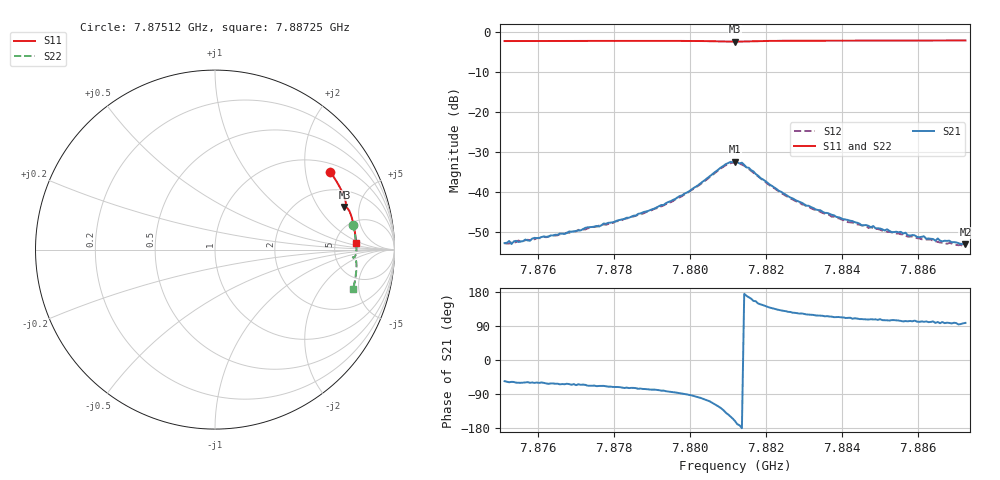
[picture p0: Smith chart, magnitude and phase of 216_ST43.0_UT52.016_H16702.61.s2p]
#  HZ  S  DB  R  50.00
! Rohde & Schwarz Vector Network Analyzer
! Rohde-Schwarz,ZNB20-2Port,1311601062101988,3.16
! Created: UTC 1/12/2023, 6:45:28 PM
! freq[Hz]  db:S11  ang:S11  db:S21  ang:S21  db:S12  ang:S12  db:S22  ang:S22
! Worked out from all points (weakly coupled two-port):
!   201 points, 7.87512 GHz to 7.88725 GHz, reference 50 ohm
!   highest |S21| = -32.37 dB at 7.88119 GHz (marker M1); lowest = -52.9 dB at 7.88725 GHz (marker M2)
!   lowest |S11| = -2.4 dB at 7.88119 GHz (marker M3), VSWR 7.31, Z = 158 + j177 ohm
!   |S11| at or under -10 dB: nowhere
!   |S22| runs from -2.3 to -1.9 dB; largest |S21 - S12| = 0.0019
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7.875123e9  -2.23 34.2  -52.70 -55.9  -52.75 -61.9  -2.17 10.3
7.875791e9  -2.22 32.4  -52.12 -60.2  -51.97 -64.2  -2.14 8.8
7.875912e9  -2.22 32.0  -51.39 -60.4  -51.74 -61.8  -2.14 8.5
7.877186e9  -2.20 28.6  -49.21 -64.9  -49.29 -70.0  -2.11 5.5
7.878399e9  -2.18 25.2  -46.35 -74.1  -46.40 -77.5  -2.08 2.7
7.879187e9  -2.18 23.0  -43.49 -79.6  -43.72 -83.7  -2.07 0.8
7.879976e9  -2.20 20.7  -39.78 -92.0  -39.87 -95.3  -2.08 -1.2
7.880946e9  -2.35 18.2  -32.96 -138.9  -33.26 -141.0  -2.25 -3.4
7.881189e9  -2.39 18.2  -32.37 -161.1  -32.58 -164.8  -2.28 -3.2
7.881371e9  -2.36 18.2  -32.61 -180.0  -33.10 176.8  -2.26 -3.1
7.882341e9  -2.17 15.8  -39.63 132.2  -39.81 129.2  -2.04 -5.0
7.883251e9  -2.13 13.3  -43.93 118.9  -44.24 114.7  -2.00 -7.2
7.884525e9  -2.11 9.8  -48.26 108.0  -48.28 105.8  -1.97 -10.2
7.885253e9  -2.10 7.9  -49.64 104.1  -49.84 101.4  -1.95 -11.7
7.885677e9  -2.09 6.8  -50.09 102.7  -50.83 99.5  -1.96 -12.7
7.885738e9  -2.09 6.6  -50.73 102.1  -51.10 99.5  -1.95 -12.8
7.88598e9  -2.09 6.0  -51.14 101.2  -51.46 98.3  -1.94 -13.3
7.886162e9  -2.09 5.5  -51.00 100.9  -51.83 97.2  -1.94 -13.7
7.886466e9  -2.09 4.7  -52.11 97.9  -52.27 96.1  -1.95 -14.4
7.886526e9  -2.08 4.6  -51.53 100.3  -52.44 97.8  -1.95 -14.5
7.886648e9  -2.09 4.3  -52.27 100.2  -52.62 96.1  -1.94 -14.7
7.887254e9  -2.08 2.7  -52.95 97.9  -53.46 92.1  -1.94 -16.1
